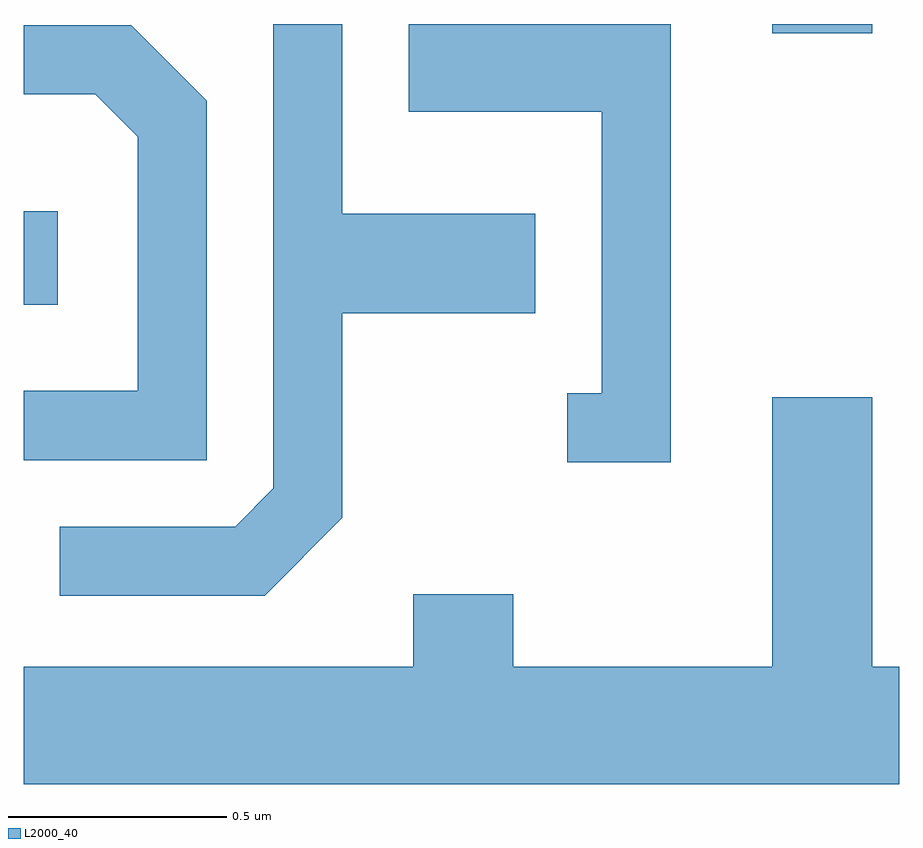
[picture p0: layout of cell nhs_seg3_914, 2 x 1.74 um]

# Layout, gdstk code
import gdstk
lib = gdstk.Library(unit=1e-6, precision=1e-09)
def R(c, l, rs):  # rectangles x0, y0, x1, y1
    for r in rs: c.add(gdstk.rectangle(r[:2], r[2:], *l))
def P(c, l, *ps):  # polygons
    for p in ps: c.add(gdstk.Polygon(p, *l))
L2000_40 = (2000, 40)

nhs_seg3_914 = lib.new_cell('nhs_seg3_914')
R(nhs_seg3_914, L2000_40, [(191.611,1209.251,191.689,1209.464), (193.321,1209.871,193.549,1209.892)])
P(nhs_seg3_914, L2000_40, [(193.089,1209.892),(192.491,1209.892),(192.491,1209.691),(192.931,1209.691),(192.931,1209.049),(192.853,1209.049),(192.853,1208.891),(193.089,1208.891)],
  [(192.339,1208.764),(192.339,1209.231),(192.779,1209.231),(192.779,1209.459),(192.339,1209.459),(192.339,1209.892),(192.181,1209.892),(192.181,1208.832),(192.094,1208.744),(191.693,1208.744),(191.693,1208.586),(192.162,1208.586)],
  [(192.029,1209.717),(191.857,1209.889),(191.611,1209.889),(191.611,1209.731),(191.774,1209.731),(191.871,1209.634),(191.871,1209.054),(191.611,1209.054),(191.611,1208.896),(192.029,1208.896)],
  [(193.611,1208.424),(193.549,1208.424),(193.549,1209.039),(193.321,1209.039),(193.321,1208.424),(192.729,1208.424),(192.729,1208.589),(192.501,1208.589),(192.501,1208.424),(191.611,1208.424),(191.611,1208.156),(193.611,1208.156)])

lib.write_gds('nhs_seg3_914.gds')
